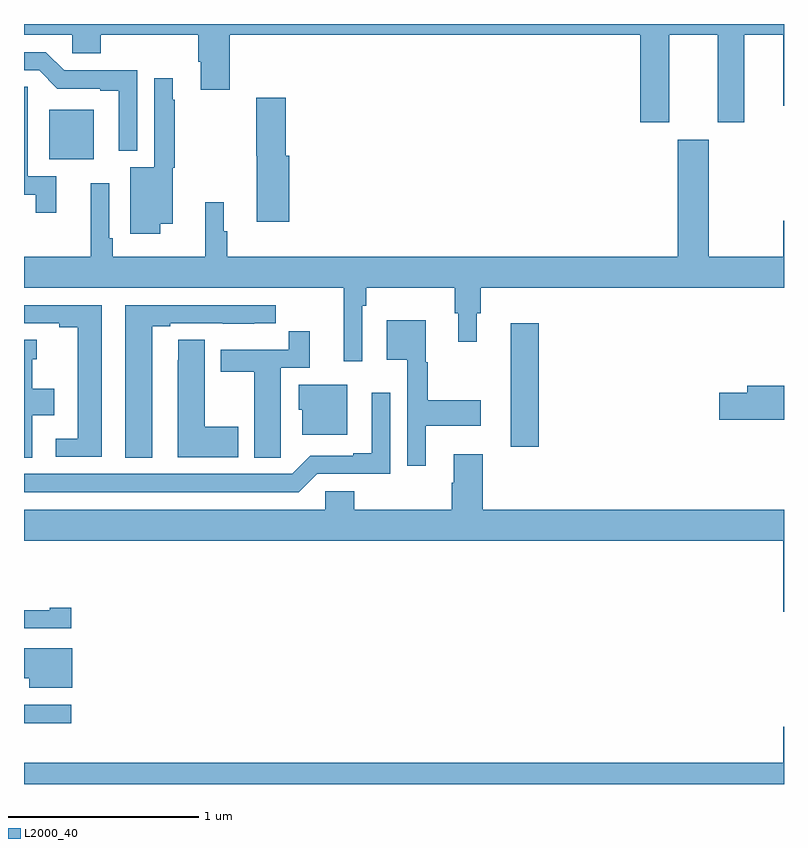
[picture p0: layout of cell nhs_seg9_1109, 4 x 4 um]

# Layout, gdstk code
import gdstk
lib = gdstk.Library(unit=1e-6, precision=1e-09)
def R(c, l, rs):  # rectangles x0, y0, x1, y1
    for r in rs: c.add(gdstk.rectangle(r[:2], r[2:], *l))
def P(c, l, *ps):  # polygons
    for p in ps: c.add(gdstk.Polygon(p, *l))
L2000_40 = (2000, 40)

nhs_seg9_1109 = lib.new_cell('nhs_seg9_1109')
R(nhs_seg9_1109, L2000_40, [(173,1168.821,173.248,1168.917), (175.562,1170.276,175.709,1170.925), (173.132,1171.787,173.368,1172.05)])
P(nhs_seg9_1109, L2000_40, [(176.791,1172.444),(176.996,1172.444),(176.996,1172.07),(177,1172.07),(177,1172.5),(173,1172.5),(173,1172.444),(173.253,1172.444),(173.253,1172.346),(173.405,1172.346),(173.405,1172.444),(173.918,1172.444),(173.918,1172.302),(173.93,1172.302),(173.93,1172.154),(174.083,1172.154),(174.083,1172.444),(176.243,1172.444),(176.243,1171.983),(176.395,1171.983),(176.395,1172.444),(176.651,1172.444),(176.651,1171.983),(176.791,1171.983)],
  [(173.595,1172.256),(173.211,1172.256),(173.115,1172.352),(173,1172.352),(173,1172.256),(173.079,1172.256),(173.175,1172.16),(173.402,1172.16),(173.402,1172.148),(173.498,1172.148),(173.498,1171.832),(173.595,1171.832)],
  [(173.716,1171.448),(173.782,1171.448),(173.782,1171.743),(173.794,1171.743),(173.794,1172.102),(173.782,1172.102),(173.782,1172.215),(173.685,1172.215),(173.685,1171.747),(173.558,1171.747),(173.558,1171.395),(173.716,1171.395)],
  [(173.171,1171.698),(173.02,1171.698),(173.02,1172.06),(173.019,1172.06),(173.019,1172.171),(173,1172.171),(173,1171.602),(173.062,1171.602),(173.062,1171.506),(173.171,1171.506)],
  [(174.395,1171.806),(174.377,1171.806),(174.377,1172.113),(174.223,1172.113),(174.223,1171.806),(174.224,1171.806),(174.224,1171.458),(174.395,1171.458)],
  [(174.78,1171.016),(174.8,1171.016),(174.8,1171.112),(175.267,1171.112),(175.267,1170.978),(175.286,1170.978),(175.286,1170.828),(175.384,1170.828),(175.384,1170.978),(175.403,1170.978),(175.403,1171.112),(177,1171.112),(177,1171.465),(176.996,1171.465),(176.996,1171.276),(176.605,1171.276),(176.605,1171.891),(176.441,1171.891),(176.441,1171.276),(174.071,1171.276),(174.071,1171.41),(174.052,1171.41),(174.052,1171.561),(173.953,1171.561),(173.953,1171.276),(173.468,1171.276),(173.468,1171.372),(173.448,1171.372),(173.448,1171.663),(173.351,1171.663),(173.351,1171.276),(173,1171.276),(173,1171.112),(174.683,1171.112),(174.683,1170.726),(174.78,1170.726)],
  [(173.41,1171.02),(173,1171.02),(173,1170.924),(173.186,1170.924),(173.186,1170.904),(173.282,1170.904),(173.282,1170.318),(173.166,1170.318),(173.166,1170.222),(173.41,1170.222)],
  [(173.674,1170.909),(173.77,1170.909),(173.77,1170.924),(174.046,1170.924),(174.046,1170.923),(174.212,1170.923),(174.212,1170.924),(174.325,1170.924),(174.325,1171.02),(173.534,1171.02),(173.534,1170.217),(173.674,1170.217)],
  [(175.114,1170.386),(175.405,1170.386),(175.405,1170.521),(175.126,1170.521),(175.126,1170.72),(175.114,1170.72),(175.114,1170.94),(174.908,1170.94),(174.908,1170.734),(175.017,1170.734),(175.017,1170.174),(175.114,1170.174)],
  [(174.351,1170.328),(174.352,1170.328),(174.352,1170.69),(174.503,1170.69),(174.503,1170.883),(174.394,1170.883),(174.394,1170.786),(174.035,1170.786),(174.035,1170.67),(174.212,1170.67),(174.212,1170.217),(174.351,1170.217)],
  [(174.127,1170.381),(173.95,1170.381),(173.95,1170.839),(173.811,1170.839),(173.811,1170.731),(173.81,1170.731),(173.81,1170.221),(174.127,1170.221)],
  [(173.044,1170.44),(173.158,1170.44),(173.158,1170.58),(173.044,1170.58),(173.044,1170.735),(173.068,1170.735),(173.068,1170.838),(173,1170.838),(173,1170.217),(173.044,1170.217)],
  [(174.7,1170.601),(174.446,1170.601),(174.446,1170.471),(174.464,1170.471),(174.464,1170.338),(174.7,1170.338)],
  [(177,1170.596),(176.807,1170.596),(176.807,1170.56),(176.658,1170.56),(176.658,1170.418),(177,1170.418)],
  [(174.543,1170.132),(174.927,1170.132),(174.927,1170.559),(174.83,1170.559),(174.83,1170.241),(174.734,1170.241),(174.734,1170.228),(174.507,1170.228),(174.411,1170.132),(173,1170.132),(173,1170.036),(174.447,1170.036)],
  [(177,1169.944),(175.415,1169.944),(175.415,1170.235),(175.262,1170.235),(175.262,1170.086),(175.25,1170.086),(175.25,1169.944),(174.737,1169.944),(174.737,1170.042),(174.585,1170.042),(174.585,1169.944),(173,1169.944),(173,1169.78),(176.996,1169.78),(176.996,1169.406),(177,1169.406)],
  [(173.248,1169.428),(173.135,1169.428),(173.135,1169.415),(173,1169.415),(173,1169.319),(173.248,1169.319)],
  [(173.254,1169.215),(173,1169.215),(173,1169.057),(173.027,1169.057),(173.027,1169.006),(173.254,1169.006)],
  [(177,1168.801),(176.996,1168.801),(176.996,1168.612),(173,1168.612),(173,1168.5),(177,1168.5)])

lib.write_gds('nhs_seg9_1109.gds')
